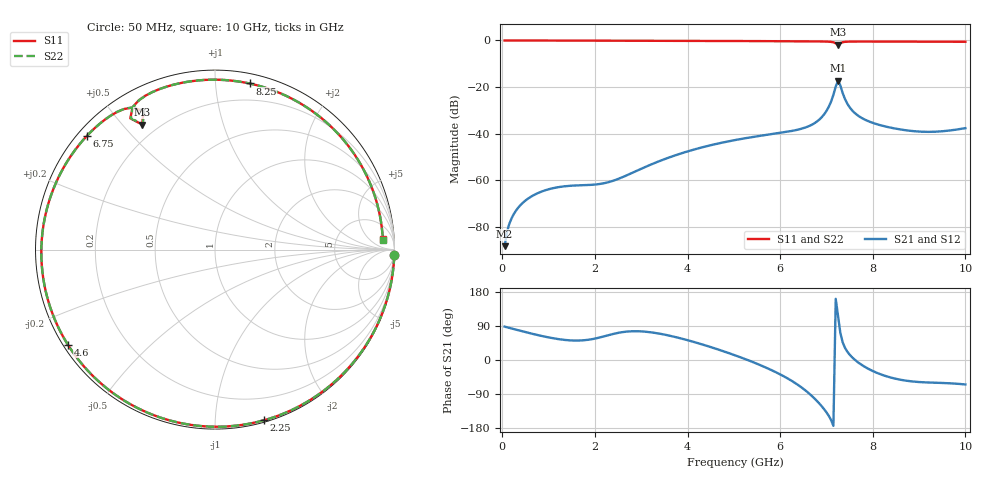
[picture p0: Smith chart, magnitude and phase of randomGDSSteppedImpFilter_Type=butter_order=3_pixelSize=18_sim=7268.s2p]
! freq	dB(S11)	phase(S11)	dB(S12)	phase(S12)
!  dB(S21)	phase(S21)	dB(S22)	phase(S22)
!S-par simulation data
#  GHz  S  DB  R 50
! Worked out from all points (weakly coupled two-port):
!   200 points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, 50 MHz to 10 GHz, reference 50 ohm
!   highest |S21| = -17.29 dB at 7.25 GHz (marker M1); lowest = -88.2 dB at 50 MHz (marker M2)
!   lowest |S11| = -1.9 dB at 7.25 GHz (marker M3), VSWR 9.32, Z = 7.11 + j28.3 ohm
!   |S11| at or under -10 dB: nowhere
!   |S22| runs from -1.9 to 0.0 dB; largest |S21 - S12| = 0
!   S11 on the Smith chart (normalised r, x): 50 MHz: 1, -67; 2.25 GHz: 0.01, -1.32; 4.6 GHz: 0.01, -0.29; 6.75 GHz: 0.03, +0.38; 8.25 GHz: 0.07, +1.23; 10 GHz: 16, +15
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0.05  -0.00 -1.7  -88.16 88.1  -88.16 88.1  -0.00 -1.7
0.15  -0.01 -5.1  -78.69 84.8  -78.69 84.8  -0.01 -5.1
0.4  -0.02 -13.5  -70.40 76.8  -70.40 76.8  -0.02 -13.5
0.7  -0.03 -23.6  -66.06 67.6  -66.06 67.6  -0.03 -23.6
1.15  -0.05 -38.6  -63.08 56.3  -63.08 56.3  -0.05 -38.5
1.75  -0.07 -58.1  -62.02 52.0  -62.02 52.0  -0.07 -58.1
2.25  -0.09 -74.1  -60.95 64.1  -60.95 64.1  -0.09 -74.1
3.4  -0.14 -110.0  -51.65 69.4  -51.65 69.4  -0.14 -110.0
4.6  -0.21 -147.1  -44.43 30.2  -44.43 30.2  -0.21 -147.2
5.05  -0.24 -161.5  -42.59 11.3  -42.59 11.3  -0.24 -161.6
5.9  -0.31 170.0  -39.91 -31.8  -39.91 -31.8  -0.31 169.9
6.7  -0.40 140.4  -35.95 -96.6  -35.95 -96.6  -0.40 140.3
6.75  -0.41 138.4  -35.35 -102.5  -35.35 -102.5  -0.41 138.3
7.05  -0.53 125.4  -28.43 -147.4  -28.43 -147.4  -0.53 125.2
7.25  -1.87 120.2  -17.29 116.6  -17.29 116.6  -1.88 120.0
7.3  -1.20 122.8  -19.29 71.3  -19.29 71.3  -1.21 122.7
7.45  -0.52 114.2  -27.09 22.1  -27.09 22.1  -0.53 114.0
7.6  -0.47 107.0  -30.89 1.9  -30.89 1.9  -0.47 106.8
8.25  -0.49 78.2  -36.76 -41.2  -36.76 -41.2  -0.49 78.0
8.35  -0.49 73.8  -37.21 -45.0  -37.21 -45.0  -0.49 73.5
9.2  -0.53 36.7  -39.17 -59.4  -39.17 -59.4  -0.53 36.3
10  -0.57 3.7  -37.60 -64.6  -37.60 -64.6  -0.57 3.3
